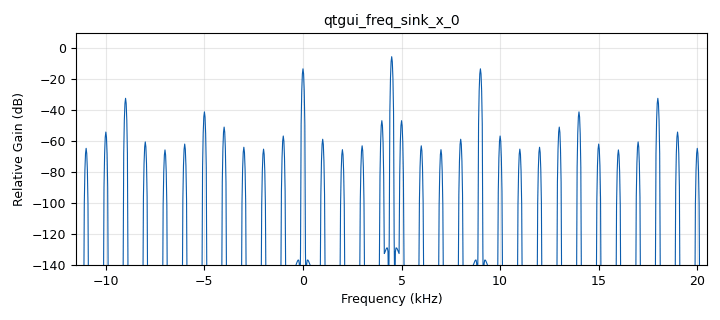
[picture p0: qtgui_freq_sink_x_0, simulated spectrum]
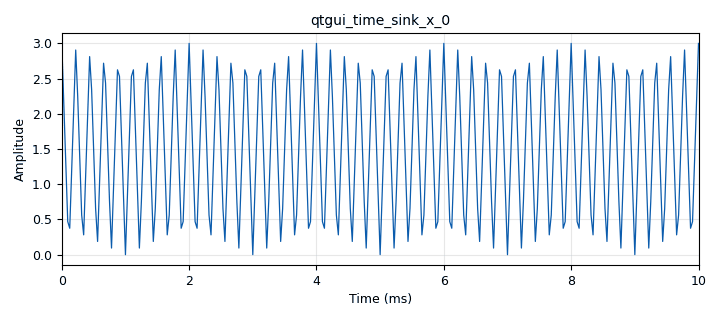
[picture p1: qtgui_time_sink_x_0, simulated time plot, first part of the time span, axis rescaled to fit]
options:
  parameters:
    author: estudiante
    generate_options: qt_gui
    id: Lab_comu_1
    output_language: python
    title: Primer Flujograma
  states: {}

blocks:
- name: frecuency
  id: variable
  parameters:
    value: '4500'
  states: {state: disabled}
- name: frecuency
  id: variable_qtgui_range
  parameters:
    start: '-16000'
    step: '100'
    stop: '16000'
    value: '0'
  states: {state: disabled}
- name: samp_rate
  id: variable
  parameters:
    value: '32000'
  states: {}
- name: analog_sig_source_x_0
  id: analog_sig_source_x
  parameters:
    amp: '3'
    freq: '4500'
    offset: '0'
    phase: '0'
    samp_rate: samp_rate
    type: float
    waveform: analog.GR_TRI_WAVE
  states: {}
- name: blocks_throttle2_0
  id: blocks_throttle2
  parameters:
    samples_per_second: samp_rate
    type: float
  states: {}
- name: qtgui_freq_sink_x_0
  id: qtgui_freq_sink_x
  parameters:
    bw: samp_rate
    fc: '4500'
    fftsize: '1024'
    type: float
  states: {}
- name: qtgui_time_sink_x_0
  id: qtgui_time_sink_x
  parameters:
    size: '1024'
    srate: samp_rate
    type: float
  states: {}

connections:
- [analog_sig_source_x_0, '0', blocks_throttle2_0, '0']
- [blocks_throttle2_0, '0', qtgui_freq_sink_x_0, '0']
- [blocks_throttle2_0, '0', qtgui_time_sink_x_0, '0']

metadata:
  file_format: 1
  grc_version: v3.10.11.0-89-ga17f69e7
